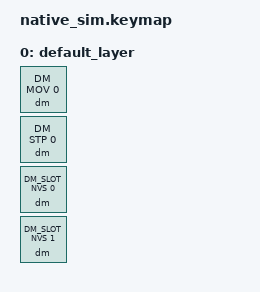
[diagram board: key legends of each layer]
/*
 * Copyright (c) 2026 The ZMK Contributors
 * SPDX-License-Identifier: MIT
 *
 * Test: Move command enters move mode without crash.
 *
 * Simplified test - just verify move mode can be entered/cancelled.
 */

#include "../behavior_keymap.dtsi"

/ {
    keymap {
        compatible = "zmk,keymap";
        default_layer {
            bindings = <
                &dm DM_MOV 0        /* 0,0: enter move mode */
                &dm DM_STP 0        /* 0,1: cancel */
                &dm DM_SLOT_NVS 0   /* 1,0: slot 0 */
                &dm DM_SLOT_NVS 1   /* 1,1: slot 1 */
            >;
        };
    };
};

&kscan {
    events = <
        /* Enter move mode */
        ZMK_MOCK_PRESS(0,0,10)
        ZMK_MOCK_RELEASE(0,0,10)

        /* Cancel move mode */
        ZMK_MOCK_PRESS(0,1,10)
        ZMK_MOCK_RELEASE(0,1,10)
    >;
};
